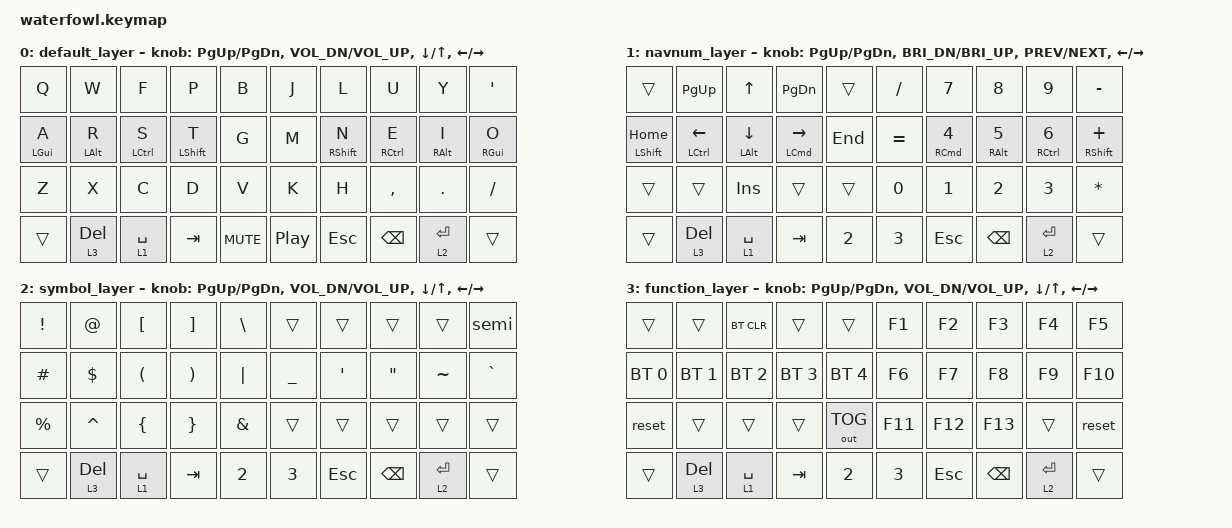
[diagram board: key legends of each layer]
/*
 * Copyright (c) 2022 The ZMK Contributors
 *
 * SPDX-License-Identifier: MIT
 */

#include <behaviors.dtsi>
#include <dt-bindings/zmk/keys.h>
#include <dt-bindings/zmk/bt.h>
#include <dt-bindings/zmk/rgb.h>
#include <dt-bindings/zmk/outputs.h>

/ {
/*
* Enable global-quick-tap with a 125 millisecond quick-tap-ms term.
* 
* A &gqt binding will only have its underlying hold-tap behavior if it is
* pressed 125 ms after a key press.
* 
* With retro-tap is enabled, the tap behavior is triggered when releasing
* the hold-tap key if no other key was pressed in the meantime.
*/
    behaviors {
        gqt: global-quick-tap {
                compatible = "zmk,behavior-hold-tap";
                label = "GLOBAL_QUICK_TAP";
                #binding-cells = <2>;
                flavor = "tap-preferred";
                tapping-term-ms = <200>;
                quick-tap-ms = <125>;
                global-quick-tap;
                retro-tap;
                bindings = <&kp>, <&kp>;
        };
    };

    keymap {
        compatible = "zmk,keymap";

        default_layer {
/* Colemak
 *
 * ,----------------------------------.                      ,----------------------------------.
 * |   Q  |   W  |   F  |   P  |   B  |                      |   J  |   L  |   U  |   Y  |   '  |
 * |------+------+------+------+------|                      |------+------+------+------+------|
 * |   A  |   R  |   S  |   T  |   G  |                      |   M  |   N  |   E  |   I  |   O  |
 * |------+------+------+------+------|  ,-----.    ,-----.  |------+------+------+------+------|
 * |   Z  |   X  |   C  |   D  |   V  |  | MUTE|    | PP  |  |   K  |   H  |   ,  |   .  |   /  |
 * `----------------------------------'  `-----'    `-----'  `----------------------------------'
 *          ,-----.   ,--------------------.            ,--------------------.   ,-----.
 *          |     |   | DEL | SPACE | TAB  |            |  ESC  | BS | ENTER |   |     |
 *          `-----'   `--------------------'            `--------------------'   `-----'
 */
            bindings = <
    &kp Q        &kp W       &kp F         &kp P        &kp B           &kp J    &kp L        &kp U        &kp Y         &kp APOS
    &gqt LGUI A  &gqt LALT R &gqt LCTRL S  &gqt LSHFT T &kp G           &kp M    &gqt RSHFT N &gqt RCTRL E  &gqt RALT I  &gqt RGUI O
    &kp Z        &kp X       &kp C         &kp D        &kp V           &kp K    &kp H        &kp COMMA    &kp DOT       &kp FSLH
    &trans       &lt 3 DEL   &lt 1 SPACE   &kp TAB      &kp K_MUTE      &kp C_PP &kp ESC      &kp BSPC     &lt 2 RET     &trans
            >;

            sensor-bindings = <
                &inc_dec_kp PAGE_UP PAGE_DOWN
                &inc_dec_kp C_VOL_DN C_VOL_UP
                &inc_dec_kp DOWN UP
                &inc_dec_kp LEFT RIGHT
            >;
        };

        navnum_layer {
/* NAVNUM
 *
 * ,----------------------------------.                      ,----------------------------------.
 * |      | PgUp |  UP  | PgDn |      |                      |   /  |   7  |   8  |   9  |   -  |
 * |------+------+------+------+------|                      |------+------+------+------+------|
 * | Home | Left | Down | Right| End  |                      |   =  |   4  |   5  |   6  |   +  |
 * |------+------+------+------+------|  ,-----.    ,-----.  |------+------+------+------+------|
 * |      |      |  INS |      |      |  |  2  |    |  3  |  |   0  |   1  |   2  |   3  |   *  |
 * `----------------------------------'  `-----'    `-----'  `----------------------------------'
 *          ,-----.   ,--------------------.            ,--------------------.   ,-----.
 *          |     |   | DEL | SPACE | TAB  |            |  ESC  | BS | ENTER |   |     |
 *          `-----'   `--------------------'            `--------------------'   `-----'
 */
            bindings = <
    &trans          &kp PG_UP      &kp UP        &kp PG_DN      &trans                &kp FSLH  &kp N7      &kp N8      &kp N9       &kp MINUS
    &mt LSHIFT HOME &mt LCTRL LEFT &mt LALT DOWN &mt LCMD RIGHT &kp END               &kp EQUAL &mt RCMD N4 &mt RALT N5 &mt RCTRL N6 &mt RSHIFT PLUS
    &trans          &trans         &kp INS       &trans         &trans                &kp N0    &kp N1      &kp N2      &kp N3       &kp ASTERISK
    &trans          &lt 3 DEL      &lt 1 SPACE   &kp TAB        &kp N2                &kp N3    &kp ESC     &kp BSPC    &lt 2 RET    &trans
            >;

            sensor-bindings = <
                &inc_dec_kp PAGE_UP PAGE_DOWN
                &inc_dec_kp C_BRI_DN C_BRI_UP
                &inc_dec_kp C_PREV C_NEXT
                &inc_dec_kp LEFT RIGHT
            >;
        };

        symbol_layer {
/* SYM
 *
 * ,----------------------------------.                      ,----------------------------------.
 * |   !  |   @  |   [  |   ]  |   \  |                      |      |      |      |      |   ;  |
 * |------+------+------+------+------|                      |------+------+------+------+------|
 * |   #  |   $  |   (  |   )  |   |  |                      |   _  |   '  |   "  |   ~  |   `  |
 * |------+------+------+------+------|  ,-----.    ,-----.  |------+------+------+------+------|
 * |   %  |   ^  |   {  |   }  |   &  |  |  2  |    |  3  |  |      |      |      |      |      |
 * `----------------------------------'  `-----'    `-----'  `----------------------------------'
 *          ,-----.   ,--------------------.            ,--------------------.   ,-----.
 *          |     |   | DEL | SPACE | TAB  |            |  ESC  | BS | ENTER |   |     |
 *          `-----'   `--------------------'            `--------------------'   `-----'
 */
            bindings = <
    &kp EXCL     &kp AT      &kp LBKT    &kp RBKT    &kp BACKSLASH           &trans          &trans          &trans              &trans      &kp semi
    &kp HASH     &kp DLLR    &kp LPAR    &kp RPAR    &kp PIPE                &kp UNDER       &kp APOS        &kp DOUBLE_QUOTES   &kp TILDE   &kp GRAVE
    &kp PRCNT    &kp CARET   &kp LBRC    &kp RBRC    &kp AMPS                &trans          &trans          &trans              &trans      &trans
    &trans       &lt 3 DEL   &lt 1 SPACE &kp TAB     &kp N2                  &kp N3          &kp ESC         &kp BSPC            &lt 2 RET   &trans
            >;

            sensor-bindings = <
                &inc_dec_kp PAGE_UP PAGE_DOWN
                &inc_dec_kp C_VOL_DN C_VOL_UP
                &inc_dec_kp DOWN UP
                &inc_dec_kp LEFT RIGHT
            >;
        };

        function_layer {
/* FUNC
 *
 * ,----------------------------------.                      ,----------------------------------.
 * |      |      | BTCLR|      |      |                      |  F1  |  F2  |  F3  |  F4  |  F5  |
 * |------+------+------+------+------|                      |------+------+------+------+------|
 * |  BT0 |  BT1 |  BT2 |  BT3 |  BT4 |                      |  F6  |  F7  |  F8  |  F9  |  F10 |
 * |------+------+------+------+------|  ,-----.    ,-----.  |------+------+------+------+------|
 * | Reset|      |      |      |BT/USB|  |  2  |    |  3  |  |  F11 |  F12 |  F13 |      | Reset|
 * `----------------------------------'  `-----'    `-----'  `----------------------------------'
 *          ,-----.   ,--------------------.            ,--------------------.   ,-----.
 *          |     |   | DEL | SPACE | TAB  |            |  ESC  | BS | ENTER |   |     |
 *          `-----'   `--------------------'            `--------------------'   `-----'
 */
            bindings = <
    &trans        &trans         &bt BT_CLR     &trans         &trans              &kp F1   &kp F2   &kp F3     &kp F4      &kp F5
    &bt BT_SEL 0  &bt BT_SEL 1   &bt BT_SEL 2   &bt BT_SEL 3   &bt BT_SEL 4        &kp F6   &kp F7   &kp F8     &kp F9      &kp F10
    &reset    &trans         &trans         &trans         &out OUT_TOG            &kp F11  &kp F12  &kp F13    &trans      &reset
    &trans        &lt 3 DEL      &lt 1 SPACE    &kp TAB        &kp N2              &kp N3   &kp ESC  &kp BSPC   &lt 2 RET   &trans
            >;

            sensor-bindings = <
                &inc_dec_kp PAGE_UP PAGE_DOWN
                &inc_dec_kp C_VOL_DN C_VOL_UP
                &inc_dec_kp DOWN UP
                &inc_dec_kp LEFT RIGHT
            >;
        };

    };
};
